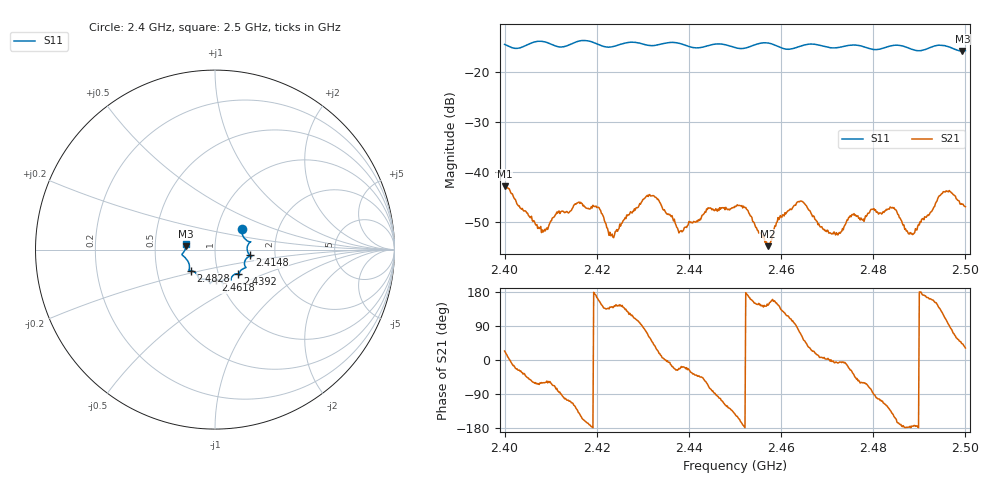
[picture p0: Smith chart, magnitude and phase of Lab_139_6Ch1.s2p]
# Hz S RI R 50
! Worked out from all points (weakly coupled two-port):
!   601 points, 2.4 GHz to 2.5 GHz, reference 50 ohm
!   highest |S21| = -42.82 dB at 2.4 GHz (marker M1); lowest = -54.8 dB at 2.4572 GHz (marker M2)
!   lowest |S11| = -15.8 dB at 2.4993 GHz (marker M3), VSWR 1.39, Z = 36.1 + j1.48 ohm
!   |S11| at or under -10 dB: start of sweep to end of sweep
!   S12 and S22 are empty: the file has one direction only
!   S11 on the Smith chart (normalised r, x): 2.4 GHz: 1.31, +0.31; 2.4148 GHz: 1.47, -0.09; 2.4392 GHz: 1.24, -0.35; 2.4618 GHz: 0.95, -0.33; 2.4828 GHz: 0.75, -0.18; 2.5 GHz: 0.72, +0.05
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2.4e9  0.1508 0.1155  0.00662 0.00289  0 0  0 0
2.4085e9  0.1977 0.0427  0.00129 -0.00222  0 0  0 0
2.414833e9  0.1926 -0.0309  -0.00183 -0.00404  0 0  0 0
2.416667e9  0.2036 -0.0393  -0.00425 -0.00243  0 0  0 0
2.420333e9  0.1854 -0.0409  -0.00415 0.0016  0 0  0 0
2.423333e9  0.1642 -0.0731  -0.00185 0.00153  0 0  0 0
2.4305e9  0.155 -0.1076  0.00108 0.00542  0 0  0 0
2.433333e9  0.1362 -0.1304  0.00492 0.00209  0 0  0 0
2.439167e9  0.1282 -0.1356  0.00264 -0.00099  0 0  0 0
2.45e9  0.0712 -0.1617  -0.00364 -0.00275  0 0  0 0
2.457167e9  0.0442 -0.191  -0.00148 0.00106  0 0  0 0
2.461833e9  0.00593 -0.17  -0.00148 0.00393  0 0  0 0
2.464333e9  -0.0219 -0.1821  0.00202 0.00471  0 0  0 0
2.466667e9  -0.0265 -0.1896  0.0034 0.00159  0 0  0 0
2.472333e9  -0.0634 -0.1644  0.00233 -0.00033  0 0  0 0
2.475333e9  -0.0864 -0.166  0.00326 -0.00184  0 0  0 0
2.482833e9  -0.1335 -0.1179  -0.00214 -0.00367  0 0  0 0
2.483333e9  -0.1379 -0.1176  -0.00257 -0.00341  0 0  0 0
2.488167e9  -0.1421 -0.0952  -0.00242 -5.69e-05  0 0  0 0
2.495333e9  -0.1834 -0.0252  -0.00277 0.00575  0 0  0 0
2.499333e9  -0.1616 0.02  0.0035 0.00324  0 0  0 0
2.5e9  -0.1611 0.0318  0.00384 0.00237  0 0  0 0
